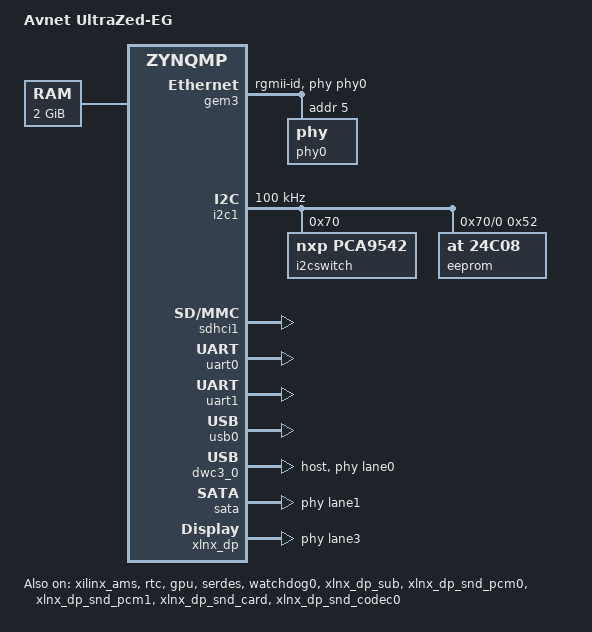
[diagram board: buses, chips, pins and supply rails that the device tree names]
/*
 * dts file for Avnet UltraZed-EG with IO carrier card
 *
 * (C) Copyright 2018, Mentor Graphics, Inc.
 *
 * Alexey Firago <alexey_firago@mentor.com>
 *
 * This program is free software; you can redistribute it and/or
 * modify it under the terms of the GNU General Public License as
 * published by the Free Software Foundation; either version 2 of
 * the License, or (at your option) any later version.
 */

/dts-v1/;

#include "zynqmp.dtsi"
#include "zynqmp-clk-ccf.dtsi"
#include <dt-bindings/gpio/gpio.h>
#include <dt-bindings/pinctrl/pinctrl-zynqmp.h>
#include <dt-bindings/phy/phy.h>

/ {
	model = "Avnet UltraZed-EG";
	compatible = "xlnx,ultrazed", "xlnx,zynqmp";

	aliases {
		ethernet0 = &gem3;
		gpio0 = &gpio;
		i2c1 = &i2c1;
		mmc0 = &sdhci1;
		rtc0 = &rtc;
		serial0 = &uart0;
		serial1 = &uart1;
		usb0 = &usb0;
	};

	chosen {
		bootargs = "earlycon clk_ignore_unused";
		stdout-path = "serial0:115200n8";
	};

	memory {
		device_type = "memory";
		reg = <0x0 0x0 0x0 0x80000000>;
	};
};

&fpd_dma_chan1 {
	status = "okay";
};

&fpd_dma_chan2 {
	status = "okay";
};

&fpd_dma_chan3 {
	status = "okay";
};

&fpd_dma_chan4 {
	status = "okay";
};

&fpd_dma_chan5 {
	status = "okay";
};

&fpd_dma_chan6 {
	status = "okay";
};

&fpd_dma_chan7 {
	status = "okay";
};

&fpd_dma_chan8 {
	status = "okay";
};

&lpd_dma_chan1 {
	status = "okay";
};

&lpd_dma_chan2 {
	status = "okay";
};

&lpd_dma_chan3 {
	status = "okay";
};

&lpd_dma_chan4 {
	status = "okay";
};

&lpd_dma_chan5 {
	status = "okay";
};

&lpd_dma_chan6 {
	status = "okay";
};

&lpd_dma_chan7 {
	status = "okay";
};

&lpd_dma_chan8 {
	status = "okay";
};

&xilinx_ams {
	status = "okay";
};

&gem3 {
	status = "okay";
	phy-handle = <&phy0>;
	phy-mode = "rgmii-id";
	phy0: phy@5 {
		reg = <0x5>;
		ti,rx-internal-delay = <0x5>;
		ti,tx-internal-delay = <0x5>;
		ti,fifo-depth = <0x1>;
	};
};

&rtc {
	status = "okay";
};

&gpu {
	status = "okay";
};

&i2c1 {
	clock-frequency = <100000>;
	status = "okay";
	
	i2cswitch@70 { 
		compatible = "nxp,pca9542";
		#address-cells = <1>;
		#size-cells = <0>;
		reg = <0x70>;
		i2c@0 { 
			#address-cells = <1>;
			#size-cells = <0>;
			reg = <0>;
			
			eeprom@52 {
				compatible = "at,24c08";
				reg = <0x52>;
			};
		};
	};
};

&sdhci1 {
	status = "okay";
	xlnx,mio_bank = <1>;
	max-frequency = <50000000>;
	disable-wp;
	no-1-8-v;
};

&serdes {
	status = "okay";
};

&uart0 {
	status = "okay";
};

&uart1 {
	status = "okay";
};

&usb0 {
	status = "okay";
};

&dwc3_0 {
	status = "okay";
	dr_mode = "host";
	phy-names = "usb3-phy";
	phys = <&lane0 PHY_TYPE_USB3 0 0 52000000>;
};

&watchdog0 {
	status = "okay";
};

&sata {
	status = "okay";
	ceva,p0-burst-params = <0x13084a06>;
	ceva,p0-cominit-params = <0x18401828>;
	ceva,p0-comwake-params = <0x614080e>;
	ceva,p0-retry-params = <0x96a43ffc>;
	ceva,p1-cominit-params = <0x18401828>;
	ceva,p1-comwake-params = <0x614080e>;
	ceva,p1-burst-params = <0x13084a06>;
	ceva,p1-retry-params = <0x96a43ffc>;
	phy-names = "sata-phy";
	phys = <&lane1 PHY_TYPE_SATA 1 1 125000000>;
};

&xlnx_dp {
	status = "okay";
	phy-names = "dp-phy0", "dp-phy1";
	phys = <&lane3 PHY_TYPE_DP 0 3 27000000>,<&lane2 PHY_TYPE_DP 1 3 27000000>;
};


&xlnx_dp_sub {
	status = "okay";
};

&xlnx_dp_snd_pcm0 {
	status = "okay";
};

&xlnx_dp_snd_pcm1 {
	status = "okay";
};

&xlnx_dp_snd_card {
	status = "okay";
};

&xlnx_dp_snd_codec0 {
	status = "okay";
};

&xlnx_dpdma {
	status = "okay";
};

